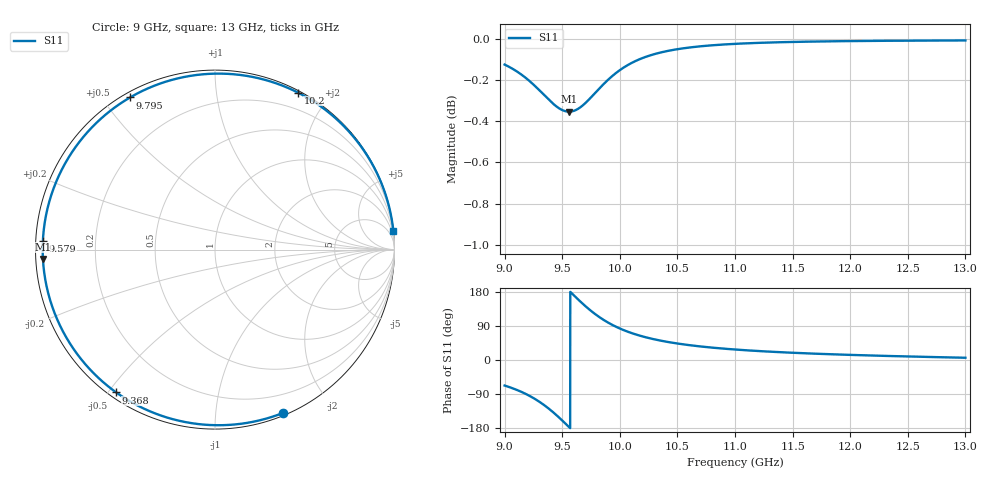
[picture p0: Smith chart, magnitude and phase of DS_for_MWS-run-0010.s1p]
! TOUCHSTONE file generated by CST DESIGN STUDIO
! Date and time: Tue Feb  4 17:46:26 2025
! Project name: C:\Work\MatlabApps\UnitCellOptimizationMatlab\CST\unitcell.cst
! Tree item: Tasks\Sweep1\SPara1\S-Parameters
! Header version: 2024
! Port assignment regex: !\s*Touchstone port\s*([0-9]+)\s*=\s*(CST MWS port|CST DES external port|CST DES block port)\s*(.+)\s* \(\"(.*)\"\)(\s*mode\s*([0-9]+))?.*
! Touchstone port assignment:
! Touchstone port 1 = CST DES external port 1 ("")
# GHz S MA R 50
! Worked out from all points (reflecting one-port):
!   4001 points, 9 GHz to 13 GHz, reference 50 ohm
!   lowest |S11| = -0.4 dB at 9.559 GHz (marker M1), VSWR 49.17, Z = 1.02 - j1.35 ohm
!   phase of S11 starts at -67 deg and turns -287 deg over the sweep
!   S11 on the Smith chart (normalised r, x): 9 GHz: 0.02, -1.50; 9.368 GHz: 0.02, -0.52; 9.579 GHz: 0.02, +0.02; 9.795 GHz: 0.02, +0.59; 10.2 GHz: 0.02, +1.66; 13 GHz: 0, +19
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9  0.9858 -67.4
9.042  0.9844 -71.6
9.108  0.9819 -79.2
9.221  0.9765 -95.4
9.299  0.9719 -109.7
9.368  0.9676 -124.7
9.432  0.9638 -140.7
9.5  0.961 -159.6
9.559  0.9601 -176.9
9.579  0.9602 177.1
9.634  0.9615 160.9
9.695  0.9644 143.8
9.745  0.9675 130.9
9.795  0.9708 119.2
9.839  0.9738 109.8
9.887  0.9768 100.7
9.94  0.9798 91.9
10  0.9827 83.2
10.095  0.9864 71.8
10.199  0.9894 62.1
10.337  0.9922 52.2
10.5  0.9943 43.5
10.721  0.996 35.1
11  0.9973 27.7
11.5  0.9983 19.1
12  0.9988 13.5
12.5  0.9991 9.3
13  0.9992 5.9
